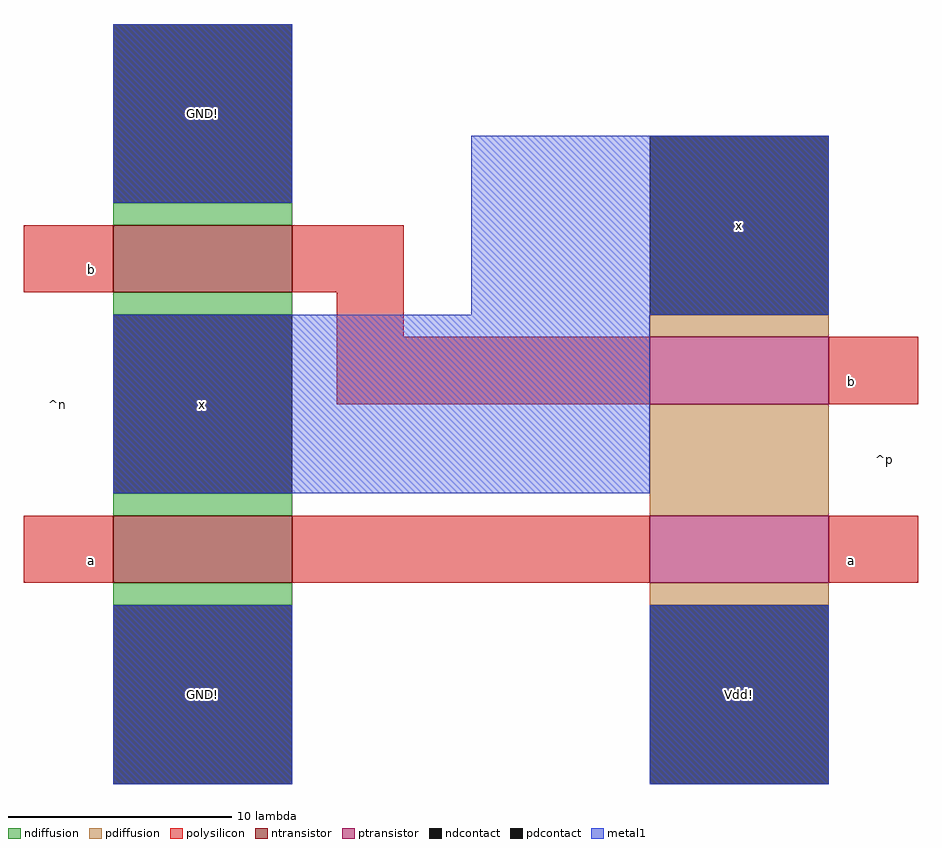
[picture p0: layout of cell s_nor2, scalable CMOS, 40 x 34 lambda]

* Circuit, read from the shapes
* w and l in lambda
.subckt s_nor2 GND! Vdd! a b x
M1 x a GND! VSUBS nfet w=8 l=3
M2 GND! b x VSUBS nfet w=8 l=3
M3 n1 a Vdd! NWELL pfet w=8 l=3
M4 x b n1 NWELL pfet w=8 l=3
.ends

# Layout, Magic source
magic
tech scmos
<< ndiffusion >>
rect -66 304 -58 305
rect -66 300 -58 301
rect -66 291 -58 292
rect -66 287 -58 288
<< pdiffusion >>
rect -42 299 -34 300
rect -42 291 -34 296
rect -42 287 -34 288
<< ntransistor >>
rect -66 301 -58 304
rect -66 288 -58 291
<< ptransistor >>
rect -42 296 -34 299
rect -42 288 -34 291
<< polysilicon >>
rect -70 301 -66 304
rect -58 301 -53 304
rect -56 299 -53 301
rect -56 296 -42 299
rect -34 296 -30 299
rect -70 288 -66 291
rect -58 288 -42 291
rect -34 288 -30 291
<< ndcontact >>
rect -66 305 -58 313
rect -66 292 -58 300
rect -66 279 -58 287
<< pdcontact >>
rect -42 300 -34 308
rect -42 279 -34 287
<< metal1 >>
rect -66 305 -58 313
rect -50 300 -34 308
rect -66 292 -42 300
rect -66 279 -58 287
rect -42 279 -34 287
<< labels >>
rlabel metal1 -62 296 -62 296 1 x
rlabel metal1 -38 304 -38 304 1 x
rlabel polysilicon -33 289 -33 289 7 a
rlabel polysilicon -33 297 -33 297 7 b
rlabel polysilicon -67 302 -67 302 1 b
rlabel polysilicon -67 289 -67 289 1 a
rlabel metal1 -62 283 -62 283 1 GND!
rlabel metal1 -62 309 -62 309 5 GND!
rlabel metal1 -38 283 -38 283 1 Vdd!
rlabel space -71 279 -66 313 7 ^n
rlabel space -34 279 -29 308 3 ^p
<< end >>
